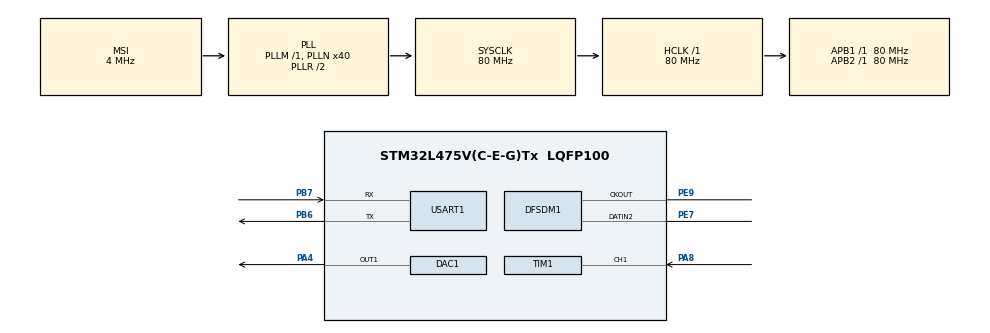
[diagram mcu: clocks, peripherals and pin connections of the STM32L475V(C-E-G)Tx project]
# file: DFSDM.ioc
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DFSDM1.Divider=40
DFSDM1.DmaMode_reg_FIL0=ENABLE
DFSDM1.FastMode_reg_FIL0=ENABLE
DFSDM1.Filter_regChannel_FIL0=DFSDM_CHANNEL_2
DFSDM1.Fosr_FIL0=125
DFSDM1.SincOrder_FIL0=DFSDM_FILTER_SINC3_ORDER
Dma.DFSDM1_FLT0.0.Direction=DMA_PERIPH_TO_MEMORY
Dma.DFSDM1_FLT0.0.Instance=DMA1_Channel4
Dma.DFSDM1_FLT0.0.MemDataAlignment=DMA_MDATAALIGN_WORD
Dma.DFSDM1_FLT0.0.MemInc=DMA_MINC_ENABLE
Dma.DFSDM1_FLT0.0.Mode=DMA_CIRCULAR
Dma.DFSDM1_FLT0.0.PeriphDataAlignment=DMA_PDATAALIGN_WORD
Dma.DFSDM1_FLT0.0.PeriphInc=DMA_PINC_DISABLE
Dma.DFSDM1_FLT0.0.Priority=DMA_PRIORITY_LOW
Dma.Request0=DFSDM1_FLT0
Mcu.Family=STM32L4
Mcu.Name=STM32L475V(C-E-G)Tx
Mcu.Package=LQFP100
NVIC.DMA1_Channel4_IRQn=true\:0\:0\:false\:false\:true\:false\:true
NVIC.PriorityGroup=NVIC_PRIORITYGROUP_4
NVIC.TIM1_UP_TIM16_IRQn=true\:0\:0\:false\:false\:true\:true\:true
PA4.Signal=COMP_DAC11_group
PA8.Signal=S_TIM1_CH1
PB6.Mode=Asynchronous
PB6.Signal=USART1_TX
PB7.Mode=Asynchronous
PB7.Signal=USART1_RX
PE7.Signal=S_DATAIN2DFSDM1
PE9.Signal=S_CKOUTDFSDM1
ProjectManager.HeapSize=0x200
ProjectManager.StackSize=0x400
ProjectManager.TargetToolchain=MDK-ARM V5
RCC.ADCFreq_Value=48000000
RCC.AHBFreq_Value=80000000
RCC.APB1Freq_Value=80000000
RCC.APB1TimFreq_Value=80000000
RCC.APB2Freq_Value=80000000
RCC.APB2TimFreq_Value=80000000
RCC.CortexFreq_Value=80000000
RCC.HCLKFreq_Value=80000000
RCC.HSE_VALUE=8000000
RCC.HSI_VALUE=16000000
RCC.LSE_VALUE=32768
RCC.MSI_VALUE=4000000
RCC.PLLN=40
RCC.PLLSAI1N=24
RCC.SYSCLKFreq_VALUE=80000000
RCC.SYSCLKSource=RCC_SYSCLKSOURCE_PLLCLK
RCC.USBFreq_Value=48000000
RCC.VCOOutputFreq_Value=160000000
SH.COMP_DAC11_group.0=DAC1_OUT1,DAC_OUT1_ExtAndInt
SH.S_CKOUTDFSDM1.0=DFSDM1_CKOUT,PDM_SPI_input_from_ch2_and_internal_clock
SH.S_DATAIN2DFSDM1.0=DFSDM1_DATIN2,PDM_SPI_input_from_ch2_and_internal_clock
SH.S_TIM1_CH1.0=TIM1_CH1,Input_Capture1_from_TI1
TIM1.Channel-Input_Capture1_from_TI1=TIM_CHANNEL_1
USART1.VirtualMode-Asynchronous=VM_ASYNC
VP_TIM1_VS_ClockSourceINT.Mode=Internal
board=B-L475E-IOT01A1

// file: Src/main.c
/* USER CODE BEGIN Header */
/**
  ******************************************************************************
  * @file           : main.c
  * @brief          : Main program body
  ******************************************************************************
  * @attention
  *
  * <h2><center>&copy; Copyright (c) 2019 STMicroelectronics.
  * All rights reserved.</center></h2>
  *
  * This software component is licensed by ST under BSD 3-Clause license,
  * the "License"; You may not use this file except in compliance with the
  * License. You may obtain a copy of the License at:
  *                        opensource.org/licenses/BSD-3-Clause
  *
  ******************************************************************************
  */
/* USER CODE END Header */

#include "main.h"

DAC_HandleTypeDef hdac1;

DFSDM_Filter_HandleTypeDef hdfsdm1_filter0;
DFSDM_Channel_HandleTypeDef hdfsdm1_channel2;
DMA_HandleTypeDef hdma_dfsdm1_flt0;

TIM_HandleTypeDef htim1;

UART_HandleTypeDef huart1;

/* USER CODE BEGIN PV */
DFSDM_Channel_HandleTypeDef hdfsdm1_channel1;
DFSDM_Filter_HandleTypeDef hdfsdm1_filter1;
#define SaturaLH(N, L, H) (((N)<(L))?(L):(((N)>(H))?(H):(N)))

#define AUDIO_REC 512				//1024,2048
int32_t RecBuf0[AUDIO_REC];		//raw data has config bits
int32_t RecBuf1[AUDIO_REC];		//raw data has config bits
int32_t PlayBuf0[AUDIO_REC];
int32_t PlayBuf1[AUDIO_REC];

uint8_t  DmaRecHalfBuffCplt  = 0;
uint8_t  DmaRecBuffCplt = 0;
int volatile tim1flag;
/* USER CODE END PV */

void SystemClock_Config(void);
static void MX_GPIO_Init(void);
static void MX_DMA_Init(void);
static void MX_DFSDM1_Init(void);
static void MX_USART1_UART_Init(void);
static void MX_DAC1_Init(void);
static void MX_TIM1_Init(void);

int main(void)
{
  /* USER CODE BEGIN 1 */
	uint16_t i;
  /* USER CODE END 1 */

  /* MCU Configuration--------------------------------------------------------*/

  /* Reset of all peripherals, Initializes the Flash interface and the Systick. */
  HAL_Init();

  /* Configure the system clock */
  SystemClock_Config();

  /* Initialize all configured peripherals */
  MX_GPIO_Init();
  MX_DMA_Init();
  MX_DFSDM1_Init();
  MX_USART1_UART_Init();
  MX_DAC1_Init();
  MX_TIM1_Init();
  /* USER CODE BEGIN 2 */

	HAL_TIM_Base_Start_IT(&htim1);

	//HAL_DFSDM_FilterInit(&hdfsdm1_filter0);															//
	HAL_DFSDM_FilterRegularStart_DMA(&hdfsdm1_filter0,RecBuf0,AUDIO_REC);
	HAL_DFSDM_FilterRegularStart_DMA(&hdfsdm1_filter1,RecBuf1,AUDIO_REC);
	HAL_DAC_Start(&hdac1, DAC_CHANNEL_1);
  HAL_DAC_Start(&hdac1, DAC_CHANNEL_2);

	tim1flag=0;
  /* USER CODE END 2 */

  /* Infinite loop */
  /* USER CODE BEGIN WHILE */
  while (1)
  {
    if (DmaRecHalfBuffCplt==1){
			for (i=0;i<AUDIO_REC/2;i++){
				//PlayBuf[i]     = SaturaLH((RecBuf[i] >> 8), 0, 4096);
				PlayBuf0[i]     = SaturaLH((RecBuf0[i] >> 8), -32768, 32767);
				PlayBuf1[i]     = SaturaLH((RecBuf1[i] >> 8), -32768, 32767);
				/*PlayBuf[i]=RecBuf[i]>>8;
				PlayBuf[i]=PlayBuf[i]>>12;*/
			}
			DmaRecHalfBuffCplt=0;
		}

		if (DmaRecBuffCplt==1){
			for (i=AUDIO_REC/2;i<AUDIO_REC;i++){
				//PlayBuf[i]     = SaturaLH((RecBuf[i] >> 8), 0, 4096);
				PlayBuf0[i]     = SaturaLH((RecBuf0[i] >> 8), -32768, 32767);
				PlayBuf1[i]     = SaturaLH((RecBuf1[i] >> 8), -32768, 32767);

			}
			for (i=0;i<AUDIO_REC;i++){
				//HAL_Delay(200);
				while (!tim1flag);
				HAL_DAC_SetValue(&hdac1, DAC_CHANNEL_1, DAC_ALIGN_12B_R, PlayBuf0[i]);
				HAL_DAC_SetValue(&hdac1, DAC_CHANNEL_2, DAC_ALIGN_12B_R, PlayBuf1[i]);

				tim1flag=0;
			}
			DmaRecBuffCplt=0;

		}
		//Systick_Handler()
    /* USER CODE END WHILE */

  }
}

void SystemClock_Config(void)
{
  RCC_OscInitTypeDef RCC_OscInitStruct = {0};
  RCC_ClkInitTypeDef RCC_ClkInitStruct = {0};
  RCC_PeriphCLKInitTypeDef PeriphClkInit = {0};

  /** Initializes the CPU, AHB and APB busses clocks
  */
  RCC_OscInitStruct.OscillatorType = RCC_OSCILLATORTYPE_MSI;
  RCC_OscInitStruct.MSIState = RCC_MSI_ON;
  RCC_OscInitStruct.MSICalibrationValue = 0;
  RCC_OscInitStruct.MSIClockRange = RCC_MSIRANGE_6;
  RCC_OscInitStruct.PLL.PLLState = RCC_PLL_ON;
  RCC_OscInitStruct.PLL.PLLSource = RCC_PLLSOURCE_MSI;
  RCC_OscInitStruct.PLL.PLLM = 1;
  RCC_OscInitStruct.PLL.PLLN = 40;
  RCC_OscInitStruct.PLL.PLLP = RCC_PLLP_DIV7;
  RCC_OscInitStruct.PLL.PLLQ = RCC_PLLQ_DIV2;
  RCC_OscInitStruct.PLL.PLLR = RCC_PLLR_DIV2;
  if (HAL_RCC_OscConfig(&RCC_OscInitStruct) != HAL_OK)
  {
    Error_Handler();
  }
  /** Initializes the CPU, AHB and APB busses clocks
  */
  RCC_ClkInitStruct.ClockType = RCC_CLOCKTYPE_HCLK|RCC_CLOCKTYPE_SYSCLK
                              |RCC_CLOCKTYPE_PCLK1|RCC_CLOCKTYPE_PCLK2;
  RCC_ClkInitStruct.SYSCLKSource = RCC_SYSCLKSOURCE_PLLCLK;
  RCC_ClkInitStruct.AHBCLKDivider = RCC_SYSCLK_DIV1;
  RCC_ClkInitStruct.APB1CLKDivider = RCC_HCLK_DIV1;
  RCC_ClkInitStruct.APB2CLKDivider = RCC_HCLK_DIV1;

  if (HAL_RCC_ClockConfig(&RCC_ClkInitStruct, FLASH_LATENCY_4) != HAL_OK)
  {
    Error_Handler();
  }
  PeriphClkInit.PeriphClockSelection = RCC_PERIPHCLK_USART1|RCC_PERIPHCLK_DFSDM1;
  PeriphClkInit.Usart1ClockSelection = RCC_USART1CLKSOURCE_PCLK2;
  PeriphClkInit.Dfsdm1ClockSelection = RCC_DFSDM1CLKSOURCE_PCLK;
  if (HAL_RCCEx_PeriphCLKConfig(&PeriphClkInit) != HAL_OK)
  {
    Error_Handler();
  }
  /** Configure the main internal regulator output voltage
  */
  if (HAL_PWREx_ControlVoltageScaling(PWR_REGULATOR_VOLTAGE_SCALE1) != HAL_OK)
  {
    Error_Handler();
  }
}

static void MX_DAC1_Init(void)
{

  DAC_ChannelConfTypeDef sConfig = {0};

  /** DAC Initialization
  */
  hdac1.Instance = DAC1;
  if (HAL_DAC_Init(&hdac1) != HAL_OK)
  {
    Error_Handler();
  }
  /** DAC channel OUT1 config
  */
  sConfig.DAC_SampleAndHold = DAC_SAMPLEANDHOLD_DISABLE;
  sConfig.DAC_Trigger = DAC_TRIGGER_NONE;
  sConfig.DAC_OutputBuffer = DAC_OUTPUTBUFFER_ENABLE;
  sConfig.DAC_ConnectOnChipPeripheral = DAC_CHIPCONNECT_ENABLE;
  sConfig.DAC_UserTrimming = DAC_TRIMMING_FACTORY;
  if (HAL_DAC_ConfigChannel(&hdac1, &sConfig, DAC_CHANNEL_1) != HAL_OK)
  {
    Error_Handler();
  }

}

static void MX_DFSDM1_Init(void)
{

  /* USER CODE BEGIN DFSDM1_Init 1 */
		hdfsdm1_filter1.Instance = DFSDM1_Filter1;
    hdfsdm1_filter1.Init.RegularParam.Trigger = DFSDM_FILTER_SW_TRIGGER;
    hdfsdm1_filter1.Init.RegularParam.FastMode = ENABLE;
    hdfsdm1_filter1.Init.RegularParam.DmaMode = DISABLE;
    hdfsdm1_filter1.Init.FilterParam.SincOrder = DFSDM_FILTER_SINC3_ORDER;  //
    hdfsdm1_filter1.Init.FilterParam.Oversampling = 125;				//
    hdfsdm1_filter1.Init.FilterParam.IntOversampling = 1;
    if (HAL_DFSDM_FilterInit(&hdfsdm1_filter1) != HAL_OK)
    {
        Error_Handler();
    }

		hdfsdm1_channel1.Instance = DFSDM1_Channel1;
    hdfsdm1_channel1.Init.OutputClock.Activation = ENABLE;
    hdfsdm1_channel1.Init.OutputClock.Selection = DFSDM_CHANNEL_OUTPUT_CLOCK_SYSTEM;	//DFSDM_CHANNEL_OUTPUT_CLOCK_AUDIO
    hdfsdm1_channel1.Init.OutputClock.Divider = 40;																	//40
    hdfsdm1_channel1.Init.Input.Multiplexer = DFSDM_CHANNEL_EXTERNAL_INPUTS;
    hdfsdm1_channel1.Init.Input.DataPacking = DFSDM_CHANNEL_STANDARD_MODE;
    hdfsdm1_channel1.Init.Input.Pins = DFSDM_CHANNEL_FOLLOWING_CHANNEL_PINS;
    hdfsdm1_channel1.Init.SerialInterface.Type = DFSDM_CHANNEL_SPI_FALLING;
    hdfsdm1_channel1.Init.SerialInterface.SpiClock = DFSDM_CHANNEL_SPI_CLOCK_INTERNAL;
    hdfsdm1_channel1.Init.Awd.FilterOrder = DFSDM_CHANNEL_FASTSINC_ORDER;
    hdfsdm1_channel1.Init.Awd.Oversampling = 1;
    hdfsdm1_channel1.Init.Offset = -1024;
    hdfsdm1_channel1.Init.RightBitShift = 3;
    if (HAL_DFSDM_ChannelInit(&hdfsdm1_channel1) != HAL_OK)
    {
        Error_Handler();
    }

		if (HAL_DFSDM_FilterConfigRegChannel(&hdfsdm1_filter1, DFSDM_CHANNEL_1, DFSDM_CONTINUOUS_CONV_ON) != HAL_OK)
    {
        Error_Handler();
    }
  /* USER CODE END DFSDM1_Init 1 */
  hdfsdm1_filter0.Instance = DFSDM1_Filter0;
  hdfsdm1_filter0.Init.RegularParam.Trigger = DFSDM_FILTER_SW_TRIGGER;
  hdfsdm1_filter0.Init.RegularParam.FastMode = ENABLE;
  hdfsdm1_filter0.Init.RegularParam.DmaMode = ENABLE;
  hdfsdm1_filter0.Init.FilterParam.SincOrder = DFSDM_FILTER_SINC3_ORDER;
  hdfsdm1_filter0.Init.FilterParam.Oversampling = 125;					//64,125,250
  hdfsdm1_filter0.Init.FilterParam.IntOversampling = 1;					//10?
  if (HAL_DFSDM_FilterInit(&hdfsdm1_filter0) != HAL_OK)
  {
    Error_Handler();
  }
  hdfsdm1_channel2.Instance = DFSDM1_Channel2;
  hdfsdm1_channel2.Init.OutputClock.Activation = ENABLE;
  hdfsdm1_channel2.Init.OutputClock.Selection = DFSDM_CHANNEL_OUTPUT_CLOCK_SYSTEM;
  hdfsdm1_channel2.Init.OutputClock.Divider = 40;
  hdfsdm1_channel2.Init.Input.Multiplexer = DFSDM_CHANNEL_EXTERNAL_INPUTS;
  hdfsdm1_channel2.Init.Input.DataPacking = DFSDM_CHANNEL_STANDARD_MODE;
  hdfsdm1_channel2.Init.Input.Pins = DFSDM_CHANNEL_SAME_CHANNEL_PINS;
  hdfsdm1_channel2.Init.SerialInterface.Type = DFSDM_CHANNEL_SPI_RISING;
  hdfsdm1_channel2.Init.SerialInterface.SpiClock = DFSDM_CHANNEL_SPI_CLOCK_INTERNAL;
  hdfsdm1_channel2.Init.Awd.FilterOrder = DFSDM_CHANNEL_FASTSINC_ORDER;
  hdfsdm1_channel2.Init.Awd.Oversampling = 1;								//10?
  hdfsdm1_channel2.Init.Offset = -1024;											//-2048,-1024
  hdfsdm1_channel2.Init.RightBitShift = 3;								//1,2,3
  if (HAL_DFSDM_ChannelInit(&hdfsdm1_channel2) != HAL_OK)
  {
    Error_Handler();
  }
  if (HAL_DFSDM_FilterConfigRegChannel(&hdfsdm1_filter0, DFSDM_CHANNEL_2, DFSDM_CONTINUOUS_CONV_ON) != HAL_OK)
  {
    Error_Handler();
  }

}

static void MX_TIM1_Init(void)
{

  TIM_ClockConfigTypeDef sClockSourceConfig = {0};
  TIM_MasterConfigTypeDef sMasterConfig = {0};
  TIM_IC_InitTypeDef sConfigIC = {0};

  htim1.Instance = TIM1;
  htim1.Init.Prescaler = 0;
  htim1.Init.CounterMode = TIM_COUNTERMODE_UP;
  htim1.Init.Period = 5000;
  htim1.Init.ClockDivision = TIM_CLOCKDIVISION_DIV1;
  htim1.Init.RepetitionCounter = 0;
  htim1.Init.AutoReloadPreload = TIM_AUTORELOAD_PRELOAD_DISABLE;
  if (HAL_TIM_Base_Init(&htim1) != HAL_OK)
  {
    Error_Handler();
  }
  sClockSourceConfig.ClockSource = TIM_CLOCKSOURCE_INTERNAL;
  if (HAL_TIM_ConfigClockSource(&htim1, &sClockSourceConfig) != HAL_OK)
  {
    Error_Handler();
  }
  if (HAL_TIM_IC_Init(&htim1) != HAL_OK)
  {
    Error_Handler();
  }
  sMasterConfig.MasterOutputTrigger = TIM_TRGO_RESET;
  sMasterConfig.MasterOutputTrigger2 = TIM_TRGO2_RESET;
  sMasterConfig.MasterSlaveMode = TIM_MASTERSLAVEMODE_DISABLE;
  if (HAL_TIMEx_MasterConfigSynchronization(&htim1, &sMasterConfig) != HAL_OK)
  {
    Error_Handler();
  }
  sConfigIC.ICPolarity = TIM_INPUTCHANNELPOLARITY_RISING;
  sConfigIC.ICSelection = TIM_ICSELECTION_DIRECTTI;
  sConfigIC.ICPrescaler = TIM_ICPSC_DIV1;
  sConfigIC.ICFilter = 0;
  if (HAL_TIM_IC_ConfigChannel(&htim1, &sConfigIC, TIM_CHANNEL_1) != HAL_OK)
  {
    Error_Handler();
  }

}

static void MX_USART1_UART_Init(void)
{

  huart1.Instance = USART1;
  huart1.Init.BaudRate = 115200;
  huart1.Init.WordLength = UART_WORDLENGTH_8B;
  huart1.Init.StopBits = UART_STOPBITS_1;
  huart1.Init.Parity = UART_PARITY_NONE;
  huart1.Init.Mode = UART_MODE_TX_RX;
  huart1.Init.HwFlowCtl = UART_HWCONTROL_NONE;
  huart1.Init.OverSampling = UART_OVERSAMPLING_16;
  huart1.Init.OneBitSampling = UART_ONE_BIT_SAMPLE_DISABLE;
  huart1.AdvancedInit.AdvFeatureInit = UART_ADVFEATURE_NO_INIT;
  if (HAL_UART_Init(&huart1) != HAL_OK)
  {
    Error_Handler();
  }

}

static void MX_DMA_Init(void)
{

  /* DMA controller clock enable */
  __HAL_RCC_DMA1_CLK_ENABLE();

  /* DMA interrupt init */
  /* DMA1_Channel4_IRQn interrupt configuration */
  HAL_NVIC_SetPriority(DMA1_Channel4_IRQn, 0, 0);
  HAL_NVIC_EnableIRQ(DMA1_Channel4_IRQn);

}

static void MX_GPIO_Init(void)
{

  /* GPIO Ports Clock Enable */
  __HAL_RCC_GPIOA_CLK_ENABLE();
  __HAL_RCC_GPIOE_CLK_ENABLE();
  __HAL_RCC_GPIOB_CLK_ENABLE();

}

/* USER CODE BEGIN 4 */
void HAL_DFSDM_FilterRegConvHalfCpltCallback(DFSDM_Filter_HandleTypeDef *hdfsdm_filter)
{
  DmaRecHalfBuffCplt = 1;
}

void HAL_DFSDM_FilterRegConvCpltCallback(DFSDM_Filter_HandleTypeDef *hdfsdm_filter)
{
  DmaRecBuffCplt = 1;
}

/* USER CODE END 4 */

void Error_Handler(void)
{
}

/************************ (C) COPYRIGHT STMicroelectronics *****END OF FILE****/
